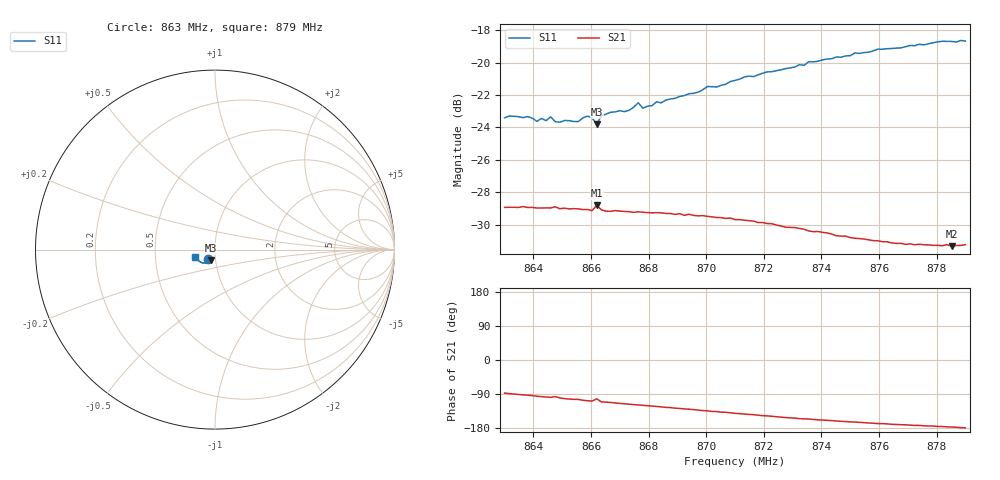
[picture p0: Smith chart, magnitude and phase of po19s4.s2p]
# HZ S RI R 50
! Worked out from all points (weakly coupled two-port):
!   101 points, 863 MHz to 879 MHz, reference 50 ohm
!   highest |S21| = -28.81 dB at 866.2 MHz (marker M1); lowest = -31.3 dB at 878.52 MHz (marker M2)
!   lowest |S11| = -23.8 dB at 866.2 MHz (marker M3), VSWR 1.14, Z = 47.2 - j5.65 ohm
!   |S11| at or under -10 dB: start of sweep to end of sweep
!   S12 and S22 are empty: the file has one direction only
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8.63e8  -0.0416 -0.0532  0.00174 -0.0357  0 0  0 0
8.638e8  -0.0403 -0.0549  -0.00185 -0.0357  0 0  0 0
8.6412e8  -0.0383 -0.0536  -0.0034 -0.0354  0 0  0 0
8.646e8  -0.0398 -0.0551  -0.0053 -0.0352  0 0  0 0
8.6492e8  -0.0352 -0.0552  -0.00622 -0.0348  0 0  0 0
8.6556e8  -0.0334 -0.0566  -0.00855 -0.0343  0 0  0 0
8.6572e8  -0.0354 -0.0575  -0.00981 -0.0338  0 0  0 0
8.6588e8  -0.0363 -0.0579  -0.0107 -0.0335  0 0  0 0
8.6604e8  -0.0339 -0.0582  -0.011 -0.0332  0 0  0 0
8.662e8  -0.025 -0.0595  -0.00787 -0.0354  0 0  0 0
8.6636e8  -0.0354 -0.0587  -0.0123 -0.0329  0 0  0 0
8.6732e8  -0.0351 -0.0619  -0.0155 -0.031  0 0  0 0
8.6764e8  -0.0375 -0.0651  -0.0166 -0.0304  0 0  0 0
8.678e8  -0.0361 -0.0627  -0.017 -0.0301  0 0  0 0
8.6828e8  -0.037 -0.066  -0.0186 -0.029  0 0  0 0
8.6844e8  -0.0368 -0.0655  -0.0191 -0.0286  0 0  0 0
8.7004e8  -0.0442 -0.0718  -0.0233 -0.024  0 0  0 0
8.71e8  -0.0493 -0.073  -0.0253 -0.0208  0 0  0 0
8.7372e8  -0.0679 -0.0742  -0.0277 -0.0118  0 0  0 0
8.7644e8  -0.0919 -0.0614  -0.0273 -0.00497  0 0  0 0
8.7852e8  -0.107 -0.0455  -0.0271 -0.00147  0 0  0 0
8.79e8  -0.11 -0.0385  -0.0274 -0.000412  0 0  0 0
